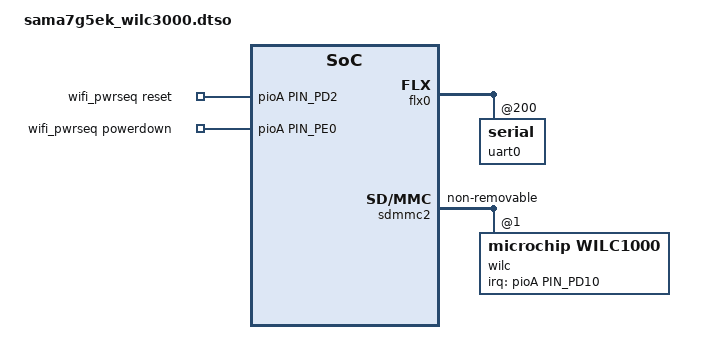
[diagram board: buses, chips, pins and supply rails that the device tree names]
// SPDX-License-Identifier: (GPL-2.0+ OR MIT)
/*
 * Device Tree file for SAMA7G5-EK board
 * overlay blob for wilc3000 add-on.
 *
 * Copyright (C) 2020 Microchip Technology Inc. and its subsidiaries
 * Author: Eugen Hristev <eugen.hristev@microchip.com>
 *
 */
/dts-v1/;
/plugin/;

#include "sama7g5-pinfunc.h"
#include <dt-bindings/gpio/gpio.h>
#include <dt-bindings/mfd/atmel-flexcom.h>

&{/}
{
	wifi_pwrseq: wifi_pwrseq {
		compatible = "mmc-pwrseq-wilc1000", "mmc-pwrseq-wilc";
		reset-gpios = <&pioA PIN_PD2 GPIO_ACTIVE_HIGH>;
		powerdown-gpios = <&pioA PIN_PE0 GPIO_ACTIVE_HIGH>;
		pinctrl-0 = <&pinctrl_wilc_pwrseq_default>;
		pinctrl-names = "default";
		status = "okay";
	};
};

&flx0 {
	status = "okay";

	uart0: serial@200 {
		status = "okay";
	};
};

&sdmmc2 {
	#address-cells = <1>;
	#size-cells = <0>;
	no-1-8-v;
	non-removable;
	mmc-pwrseq = <&wifi_pwrseq>;
	status = "okay";

	wilc: wilc@1 {
		compatible = "microchip,wilc1000", "microchip,wilc3000";
		reg = <1>;
		irq-gpios = <&pioA PIN_PD10 0>;
		bus-width = <4>;
		status = "okay";
	};
};

&pioA {
	pinctrl_wilc_pwrseq_default: pinctrl_wilc_pwrseq {
		pinmux = <PIN_PD2__GPIO>,
			 <PIN_PE0__GPIO>;
		bias-pull-down;
	};
};

